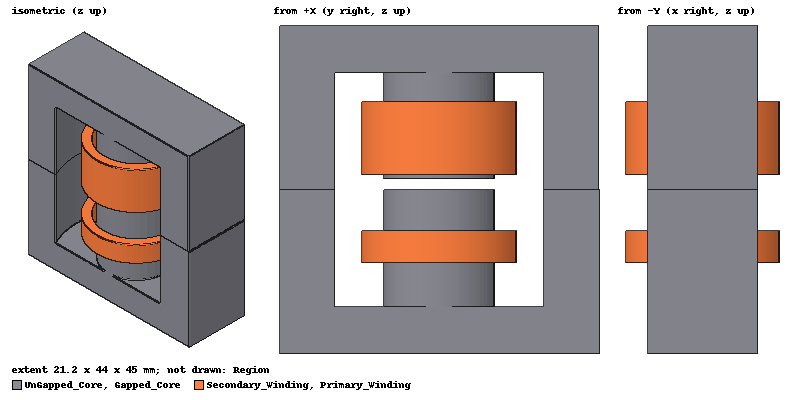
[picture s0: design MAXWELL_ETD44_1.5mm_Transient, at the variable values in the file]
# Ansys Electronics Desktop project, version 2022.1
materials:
  copper: permeability=0.999991 conductivity=58000000
  ferrite_N87_ETD44: permittivity=12 permeability=1650 conductivity=0.01
  vacuum: permittivity=1
  Ferrite_N87_ETD45_Coreloss: permittivity=12 permeability=1650 conductivity=0.01 core_loss_type="B-P Curve" mass_density=4600 core_loss_equiv_cut_depth=0.001meter core_loss_curves{PUnit=kw/m^3 BUnit=mTesla Frequency=100kHz Thickness=0.5mm BPCoordinates{DimUnits("", "") Points(0, 0, 30, 2, 40, 4, 50, 8, 60, 15, 70, 20, 80, 30, 90, 40, 100, 50, 200, 300)}}

design MAXWELL_ETD44_1.5mm_Transient (Maxwell 3D, Transient, model units mm)
options: EnableTranTranLinkWithSimplorer
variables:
  gap = 0mm
  air_gap = 1.5mm
  coil_current = 276A
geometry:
  Core_A = box(corner=(0mm, 0mm, 0mm), size=(15.2mm, 44mm, 22.5mm))
  Cylinder1 = cylinder(axis=Z, base_centre=(7.6mm, 21.9mm, 6.4mm), radius=16.25mm, height=16.1mm)
  Core_A.subtract(Cylinder1)
  UnGapped_Core [Ferrite_N87_ETD45_Coreloss] = cylinder(axis=Z, base_centre=(7.6mm, 21.9mm, 0mm), radius=7.6mm, height=22.5mm)
  UnGapped_Core.unite(Core_A)
  Gapped_Core [Ferrite_N87_ETD45_Coreloss] = box(corner=(0mm, 0mm, 45mm), size=(15.2mm, 43.8mm, -22.5mm))
  Cylinder2 = cylinder(axis=Z, base_centre=(7.6mm, 21.9mm, 22.5mm), radius=16.25mm, height=16.1mm)
  Gapped_Core.subtract(Cylinder2)
  Cylinder3 = cylinder(axis=Z, base_centre=(7.6mm, 21.9mm, 45mm), radius=7.6mm, height=-22.5mm + air_gap)
  Gapped_Core.unite(Cylinder3)
  Region [vacuum] = region(percentage_offset=100 on all sides)
  B_Area [non-model] = circle(normal=Z, centre=(7.6mm, 21.9mm, 22.5mm), radius=40mm)
  point Point1 = (7.6mm, 21.9mm, 22.5mm)
  Polyline1 [non-model] = polyline((8mm, 0mm, 22.5mm) (8mm, 44mm, 22.5mm))
  Polyline2 [non-model] = polyline((7mm, 14mm, 22.5mm) (7mm, 30mm, 22.5mm))
  Cylinder4 = cylinder(axis=Z, base_centre=(7.6mm, 21.9mm, 12.5mm), radius=8.6mm, height=10mm)
  Primary_Winding [copper] = cylinder(axis=Z, base_centre=(7.6mm, 21.9mm, 12.5mm), radius=10.6mm, height=4.375mm)
  Primary_Winding.subtract(Cylinder4)
  Cylinder6 = cylinder(axis=Z, base_centre=(7.6mm, 21.9mm, 24.5mm), radius=8.6mm, height=10.125mm)
  Secondary_Winding [copper] = cylinder(axis=Z, base_centre=(7.6mm, 21.9mm, 24.5mm), radius=10.6mm, height=10.125mm)
  Secondary_Winding.subtract(Cylinder6)
  coordinate_system RelativeCS1 = origin=(7.6mm, 0mm, 0mm) x=(1mm, 0mm, 0mm) y=(0mm, 1mm, 0mm)
  Primary_Winding_Section1 [copper] = Primary_Winding.section(plane=YZ) in RelativeCS1
  Primary_Winding_Term2 [copper] = Primary_Winding_Section1.separate_bodies()
  Secondary_Winding_Tem1 [copper] = Secondary_Winding.section(plane=YZ) in RelativeCS1
  Secondary_Winding_Term2 [copper] = Secondary_Winding_Tem1.separate_bodies()
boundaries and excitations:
  Pri_Term1: Coil Terminal Objects=Primary_Winding_Section1 Conductor_number=69 Winding=Pri Point_out_of_terminal=false
  Pri_Term2: Coil Terminal Objects=Primary_Winding_Term2 Conductor_number=69 Winding=Pri Point_out_of_terminal=true
  Sec_Term1: Coil Terminal Objects=Secondary_Winding_Tem1 Conductor_number=27 Winding=Sec Point_out_of_terminal=true
  Sec_Term2: Coil Terminal Objects=Secondary_Winding_Term2 Conductor_number=27 Winding=Sec Point_out_of_terminal=false
  Pri: Winding Group Type=External IsSolid=false Current=0mA ParallelBranchesNum=3
  Sec: Winding Group Type=External IsSolid=false Current=0mA ParallelBranchesNum=12
  core loss on: UnGapped_Core, Gapped_Core
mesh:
  initial mesh: GlobalCurvilinear{Apply}
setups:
  Setup1: Transient NonlinearSolverResidual=1e-06 ScalarPotential="Second Order" StopTime=500us TimeStep=1us SaveFieldsType="Every N Steps" N_Steps=1 Steps_From=0s Steps_To=500us NumberSolveSteps=1 RangeStart=0s RangeEnd=0.1s
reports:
  Winding Plot 1: Current(Pri) vs Time on Setup1 : Transient
  Winding Plot 2: Current(Sec) vs Time on Setup1 : Transient

design Flyback (Twin Builder)
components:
  PWM1 = PWM(DC=0.18 PERIOD=10us VAL=0)
  E1 = E(EMF=293V PERIO=0)
  D1 = D()
  R1 = R(R=3.84ohm)
  C1 = C(C=470uF)
  VM1 = VM()
  R3 = R(R=100mOhm)
  R2 = R(R=100mOhm)
  R4 = R(R=100mOhm)
  R5 = R(R=100mOhm)
  R6 = R(R=100mOhm)
  FEA1 = MxTranTranData6(Maxwell_Host=DESKTOP-FS1HSBF Maxwell_HostPort=7778 ComponentDataType=MxTranTranData name=MxTranTranData6 filename=$PROJECTDIR\ETD44_1.5mm_Simplorer.aedt numberofports=4 CouplingDesignName=MAXWELL_ETD44_1.5mm_Transient CouplingSolutionName="Setup1 : Transient" CouplingMatrixName="Setup1 : Transient" CouplingType=ExtCircuit3DLink ModelText='SMLDEF MxTranTranData6 / { / PORT ELECTRICAL: T1; / PORT ELECTRICAL: T2; / PORT ELECTRICAL: T3; / PORT ELECTRICAL: T4; / PORT string in: Maxwell_Host; / PORT string in: Maxwell_HostPort; / PORT real out: WIRELOSS = MAXWELL.VEC[0]; / PORT real out: CORELOSS = MAXWELL.VEC[1]; / PORT real out CURRENT: IT1 = MAXWELL.VEC[2]; / PORT real out VOLTAGE: VT1 = MAXWELL.VEC[3]; / PORT real out VOLTAGE: EIT1 = MAXWELL.VEC[4]; / PORT real out MAGNETIC_FLUX: FLUXT1 = MAXWELL.VEC[5]; / PORT real out CURRENT: IT2 = MAXWELL.VEC[6]; / PORT real out VOLTAGE: VT2 = MAXWELL.VEC[7]; / PORT real out VOLTAGE: EIT2 = MAXWELL.VEC[8]; / PORT real out MAGNETIC_FLUX: FLUXT2 = MAXWELL.VEC[9]; / PORT real out: FEA_STEPS = MAXWELL.VEC[10]; / UMODEL FEA_LINK MAXWELL N0:=T1,N1:=T3,N2:=T2,N3:=T4 (host:= Maxwell_Host, port:= Maxwell_HostPort, min_fea_step:=hmin, VECSIZE:=11) SRC: DB(Lib:="Simplorer Elements\Basic Elements\Basic Elements"); / }' MaxNumPoles=10000 ErrTol=0.005 SSZref=50ohm Mw2DDepth=1meter MwScale=1 RefPinStyle=3 Properties{paramProp(air_gap, 1.5mm) paramProp(coil_current, 276A) paramProp(gap, 0mm) paramProp(WIRELOSS, 0) paramProp(CORELOSS, 0) paramProp(IT1, 0) p)
  S1 = S(CTRL=PWM1.VAL)
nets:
  0: S1.1, E1.0, VM1.1, R1.1, C1.1, R6.1
  net_1: S1.CTRL, PWM1.VAL
  net_11: D1.0, R4.0
  net_12: S1.0, R5.1
  net_13: FEA1.2, R5.0
  net_14: FEA1.3, R6.0
  net_2: R2.0, FEA1.0
  net_5: FEA1.1, R4.1
  net_6: R3.0, R1.0, C1.0, D1.1
  net_8: R2.1, E1.1
  net_9: R3.1, VM1.0
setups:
  TR: TransientData(500us, 1us, 1us, false, "")
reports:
  XY Plot 1: PWM1.VAL, VM1.V vs Time on TR : TR
